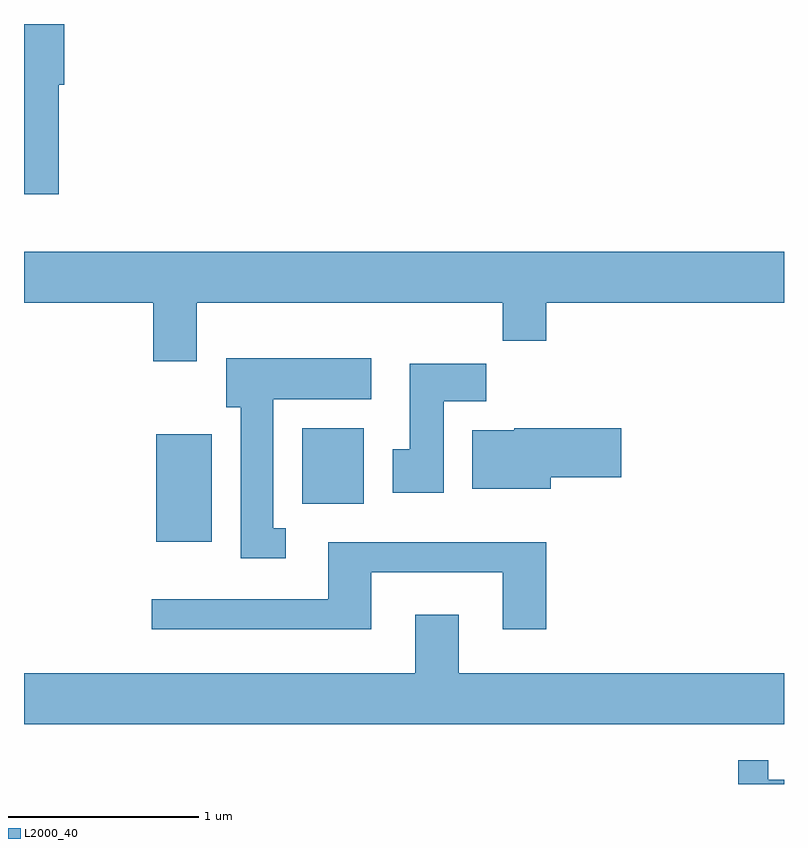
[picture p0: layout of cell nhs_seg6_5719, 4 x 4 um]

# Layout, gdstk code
import gdstk
lib = gdstk.Library(unit=1e-6, precision=1e-09)
def R(c, l, rs):  # rectangles x0, y0, x1, y1
    for r in rs: c.add(gdstk.rectangle(r[:2], r[2:], *l))
def P(c, l, *ps):  # polygons
    for p in ps: c.add(gdstk.Polygon(p, *l))
L2000_40 = (2000, 40)

nhs_seg6_5719 = lib.new_cell('nhs_seg6_5719')
R(nhs_seg6_5719, L2000_40, [(360.306,1555.436,360.599,1556.004), (361.076,1555.636,361.399,1556.034)])
P(nhs_seg6_5719, L2000_40, [(359.794,1557.841),(359.824,1557.841),(359.824,1558.162),(359.611,1558.162),(359.611,1557.266),(359.794,1557.266)],
  [(360.519,1556.696),(362.131,1556.696),(362.131,1556.496),(362.359,1556.496),(362.359,1556.696),(363.611,1556.696),(363.611,1556.964),(359.611,1556.964),(359.611,1556.696),(360.291,1556.696),(360.291,1556.386),(360.519,1556.386)],
  [(360.988,1555.509),(360.924,1555.509),(360.924,1556.186),(361.439,1556.186),(361.439,1556.404),(360.676,1556.404),(360.676,1556.146),(360.751,1556.146),(360.751,1555.351),(360.988,1555.351)],
  [(361.819,1556.176),(362.044,1556.176),(362.044,1556.374),(361.641,1556.374),(361.641,1555.924),(361.551,1555.924),(361.551,1555.696),(361.819,1555.696)],
  [(362.384,1555.776),(362.754,1555.776),(362.754,1556.034),(362.19,1556.034),(362.19,1556.024),(361.971,1556.024),(361.971,1555.716),(362.384,1555.716)],
  [(361.439,1555.276),(362.131,1555.276),(362.131,1554.976),(362.359,1554.976),(362.359,1555.434),(361.211,1555.434),(361.211,1555.134),(360.283,1555.134),(360.283,1554.976),(361.439,1554.976)],
  [(363.611,1554.744),(361.899,1554.744),(361.899,1555.054),(361.671,1555.054),(361.671,1554.744),(359.611,1554.744),(359.611,1554.476),(363.611,1554.476)],
  [(363.611,1554.184),(363.529,1554.184),(363.529,1554.288),(363.371,1554.288),(363.371,1554.162),(363.611,1554.162)])

lib.write_gds('nhs_seg6_5719.gds')
